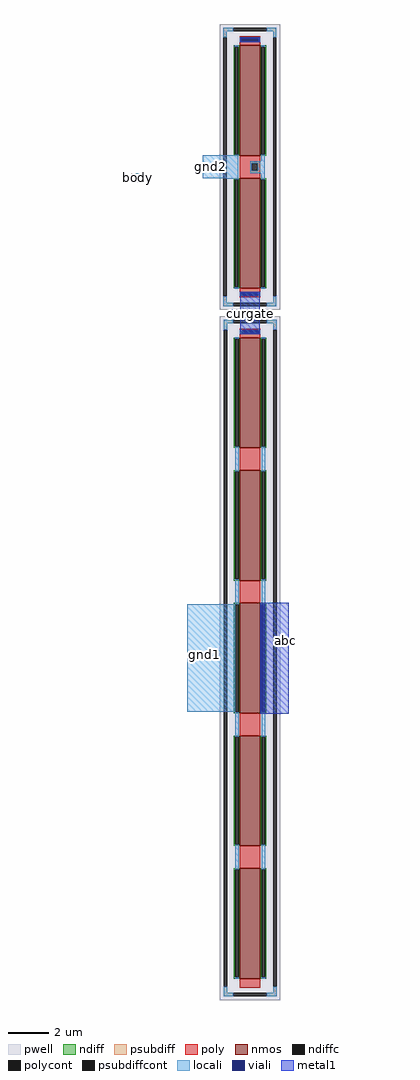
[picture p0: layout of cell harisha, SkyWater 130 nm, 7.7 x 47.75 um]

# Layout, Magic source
magic
tech sky130A
magscale 1 2
<< psubdiff >>
rect -919 8014 -802 8039
rect -919 7967 -887 8014
rect -829 7967 -802 8014
rect -919 7943 -802 7967
<< psubdiffcont >>
rect -887 7967 -829 8014
<< locali >>
rect -910 8014 -807 8037
rect -910 7967 -887 8014
rect -829 7967 -807 8014
rect -218 7988 52 8214
rect -910 7948 -807 7967
rect -370 2768 50 3820
<< metal1 >>
rect 146 6462 337 6876
rect 368 2750 620 3836
use sky130_fd_pr__nfet_01v8_F8A7VK  sky130_fd_pr__nfet_01v8_F8A7VK_0
transform 1 0 243 0 1 3293
box -296 -3346 296 3346
use sky130_fd_pr__nfet_01v8_NFC7VK  sky130_fd_pr__nfet_01v8_NFC7VK_0
transform 1 0 241 0 1 8098
box -296 -1399 296 1399
<< labels >>
rlabel metal1 202 6635 301 6697 1 curgate
rlabel locali -880 7978 -840 8007 1 body
rlabel locali -240 3228 -160 3432 1 gnd1
rlabel locali -162 8062 -130 8134 1 gnd2
rlabel metal1 570 3418 604 3512 1 abc
<< end >>

# cell sky130_fd_pr__nfet_01v8_F8A7VK: kit device sky130_fd_pr__nfet_01v8, w 5.4 l 1 m 5 nf 1 diffcov 100 polycov 100 guard 1 glc 1 grc 1 gtc 1 gbc 1 tbcov 100 rlcov 100 topc 1 botc 1 poverlap 0 doverlap 1 lmin 0.15 wmin 0.42 compatible {sky130_fd_pr__nfet_01v8 sky130_fd_pr__nfet_01v8_lvt sky130_fd_bs_flash__special_sonosfet_star sky130_fd_pr__nfet_g5v0d10v5 sky130_fd_pr__nfet_05v0_nvt sky130_fd_pr__nfet_03v3_nvt} full_metal 1 viasrc 100 viadrn 100 viagate 100 viagb 0 viagr 0 viagl 0 viagt 0

# cell sky130_fd_pr__nfet_01v8_NFC7VK: kit device sky130_fd_pr__nfet_01v8, w 5.4 l 1 m 2 nf 1 diffcov 100 polycov 100 guard 1 glc 1 grc 1 gtc 1 gbc 1 tbcov 100 rlcov 100 topc 1 botc 1 poverlap 0 doverlap 1 lmin 0.15 wmin 0.42 compatible {sky130_fd_pr__nfet_01v8 sky130_fd_pr__nfet_01v8_lvt sky130_fd_bs_flash__special_sonosfet_star sky130_fd_pr__nfet_g5v0d10v5 sky130_fd_pr__nfet_05v0_nvt sky130_fd_pr__nfet_03v3_nvt} full_metal 1 viasrc 100 viadrn 100 viagate 100 viagb 0 viagr 0 viagl 0 viagt 0
